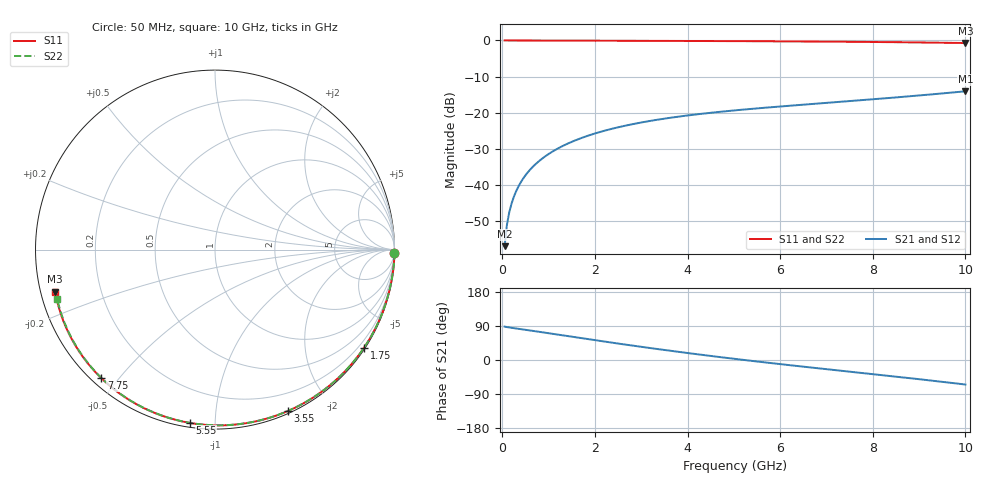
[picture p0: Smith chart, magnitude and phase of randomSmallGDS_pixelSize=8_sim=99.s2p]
! freq	dB(S11)	phase(S11)	dB(S12)	phase(S12)
!  dB(S21)	phase(S21)	dB(S22)	phase(S22)
!S-par simulation data
#  GHz  S  DB  R 50
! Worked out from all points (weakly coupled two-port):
!   200 points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, 50 MHz to 10 GHz, reference 50 ohm
!   highest |S21| = -14.10 dB at 10 GHz (marker M1); lowest = -57.1 dB at 50 MHz (marker M2)
!   lowest |S11| = -0.7 dB at 10 GHz (marker M3), VSWR 24.28, Z = 2.09 - j6.44 ohm
!   |S11| at or under -10 dB: nowhere
!   |S22| runs from -0.7 to 0.0 dB; largest |S21 - S12| = 0
!   S11 on the Smith chart (normalised r, x): 50 MHz: open; 1.75 GHz: 0.04, -3.34; 3.55 GHz: 0.02, -1.55; 5.55 GHz: 0.02, -0.86; 7.75 GHz: 0.03, -0.45; 10 GHz: 0.04, -0.13
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0.05  -0.00 -1.0  -57.06 88.2  -57.06 88.2  -0.00 -1.0
0.1  -0.00 -1.9  -51.13 86.9  -51.13 86.9  -0.00 -1.9
0.15  -0.00 -2.9  -47.69 85.8  -47.69 85.8  -0.00 -2.9
0.2  -0.00 -3.9  -45.24 84.9  -45.24 84.9  -0.00 -3.8
0.25  -0.00 -4.9  -43.34 84.1  -43.34 84.1  -0.00 -4.8
0.35  -0.01 -6.8  -40.47 82.4  -40.47 82.4  -0.01 -6.7
0.5  -0.01 -9.7  -37.41 79.7  -37.41 79.7  -0.01 -9.5
0.7  -0.02 -13.5  -34.53 76.1  -34.53 76.1  -0.02 -13.3
1  -0.03 -19.3  -31.50 70.6  -31.50 70.6  -0.03 -18.9
1.35  -0.04 -25.9  -28.99 64.1  -28.99 64.1  -0.04 -25.4
1.75  -0.05 -33.4  -26.87 56.8  -26.87 56.8  -0.05 -32.8
2.6  -0.08 -48.9  -23.80 41.6  -23.80 41.6  -0.08 -48.1
3.4  -0.11 -63.0  -21.88 28.1  -21.88 28.1  -0.11 -61.9
3.55  -0.12 -65.6  -21.59 25.6  -21.59 25.6  -0.11 -64.5
4.3  -0.15 -78.2  -20.35 13.8  -20.35 13.8  -0.15 -76.9
5.05  -0.18 -90.4  -19.36 2.5  -19.36 2.5  -0.18 -88.9
5.55  -0.21 -98.3  -18.79 -4.6  -18.79 -4.6  -0.21 -96.7
6.7  -0.29 -115.9  -17.62 -20.3  -17.62 -20.3  -0.29 -114.0
7.75  -0.39 -131.5  -16.58 -34.0  -16.58 -34.0  -0.39 -129.4
8.35  -0.46 -140.4  -15.96 -41.9  -15.96 -41.9  -0.45 -138.1
9.2  -0.58 -153.0  -15.04 -53.4  -15.04 -53.4  -0.57 -150.5
10  -0.72 -165.3  -14.10 -64.8  -14.10 -64.8  -0.71 -162.5
